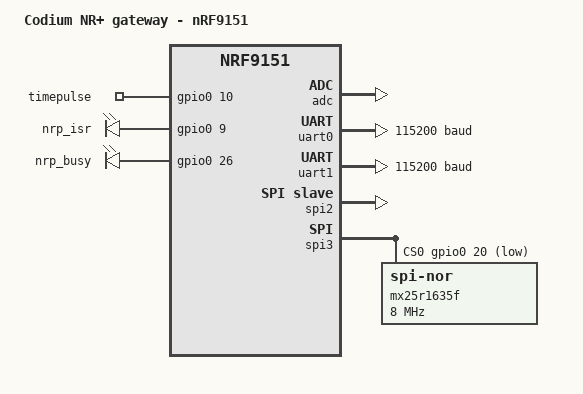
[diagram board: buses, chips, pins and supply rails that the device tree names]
/*
* Copyright (c) 2026 Codium Electronique
* SPDX-License-Identifier: Apache-2.0
*/

#include "cod_nrp_gw_nrf9151_common-pinctrl.dtsi"
#include <zephyr/dt-bindings/input/input-event-codes.h>

/ {
	model = "Codium NR+ gateway - nRF9151";
	compatible = "codium,cod_nrp_gate-nrf9151";

	chosen {
		zephyr,shell-uart = &uart1;
		zephyr,uart-mcumgr = &uart1;
		zephyr,console = &uart0;
		zephyr,tracing-uart = &uart0;
	};

	/* FIXME: These should have their own device instead of
	* reusing gpio-keys and gpio-leds, but that will work
	* for now.
	*/
	inputs: inputs {
		compatible = "gpio-keys";
		status = "okay";

		timepulse: timepulse {
			gpios = <&gpio0 10 GPIO_ACTIVE_HIGH>;
		};
	};

	outputs: outputs {
		compatible = "gpio-leds";
		status = "okay";

		nrp_isr: nrp-isr {
			gpios = <&gpio0 9 GPIO_ACTIVE_HIGH>;
		};

		nrp_busy: nrp-busy {
			gpios = <&gpio0 26 GPIO_ACTIVE_HIGH>;
		};
	};
};

&adc {
	status = "okay";
};

&gpiote {
	status = "okay";
};

&gpio0 {
	status = "okay";
};

/* LOG UART, TX only */
&uart0 {
	status = "okay";
	current-speed = <115200>;
	pinctrl-0 = <&uart0_default>;
	pinctrl-1 = <&uart0_sleep>;
	pinctrl-names = "default", "sleep";
	disable-rx;
};

/* Shell / mcumgr UART */
&uart1 {
	status = "okay";
	current-speed = <115200>;
	pinctrl-0 = <&uart1_default>;
	pinctrl-1 = <&uart1_sleep>;
	pinctrl-names = "default", "sleep";
};

/* SPI to Linux module */
&spi2 {
	compatible = "nordic,nrf-spis";
	status = "okay";
	def-char = <0x22>;
	cs-gpios = <&gpio0 5 GPIO_ACTIVE_LOW>;
	pinctrl-0 = <&spi2_default>;
	pinctrl-1 = <&spi2_sleep>;
	pinctrl-names = "default", "sleep";
};

&spi3 {
	compatible = "nordic,nrf-spim";
	status = "okay";
	cs-gpios = <&gpio0 20 GPIO_ACTIVE_LOW>;
	pinctrl-0 = <&spi3_default>;
	pinctrl-1 = <&spi3_sleep>;
	pinctrl-names = "default", "sleep";

	mx25r1635f: mx25r1635f@0 {
		compatible = "jedec,spi-nor";
		status = "okay";
		zephyr,pm-device-runtime-auto;

		reg = <0>;
		spi-max-frequency = <8000000>;
		size = <16777216>; // 16 Mib
		has-dpd;
		t-enter-dpd = <10000>;
		t-exit-dpd = <35000>;
		jedec-id = [c2 28 15];
		mxicy,mx25r-power-mode = "low-power";
	};
};

/* Include default memory partition configuration file */
#include <nordic/nrf91xx_partition.dtsi>
